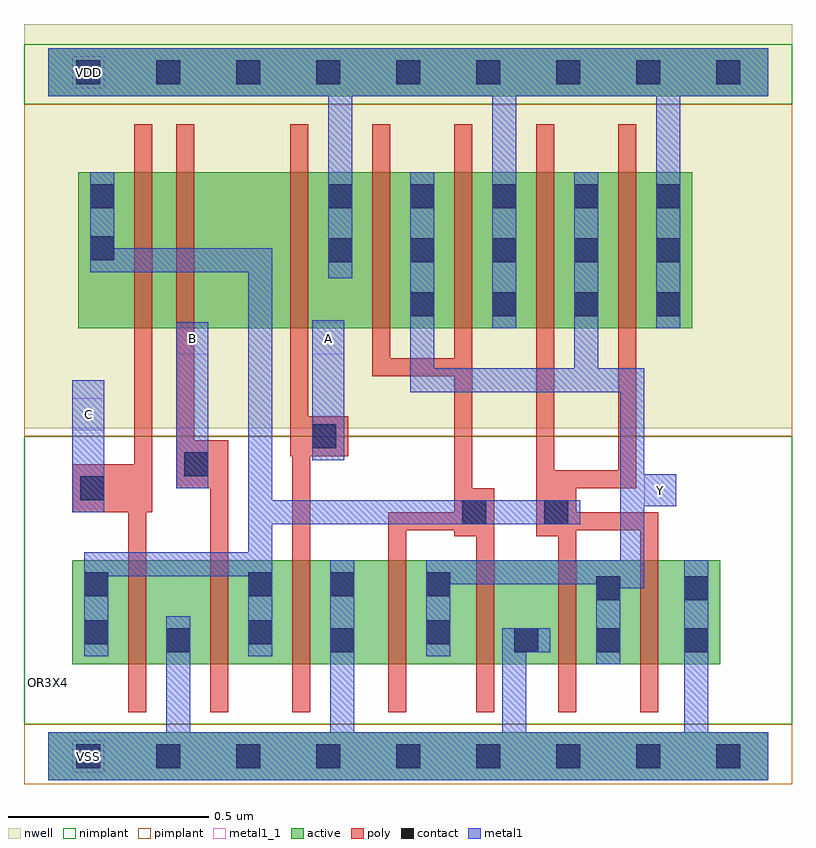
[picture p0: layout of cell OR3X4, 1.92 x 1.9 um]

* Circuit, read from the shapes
.subckt OR3X4 A B C VDD VSS Y
M1 VSS C n1 VSS nfet w=0.26u l=0.045u
M2 n1 B VSS VSS nfet w=0.26u l=0.045u
M3 VSS A n1 VSS nfet w=0.26u l=0.045u
M4 Y n1 VSS VSS nfet w=0.26u l=0.045u m=4
M5 n2 C n1 VDD pfet w=0.39u l=0.045u
M6 n3 B n2 VDD pfet w=0.39u l=0.045u
M7 VDD A n3 VDD pfet w=0.39u l=0.045u
M8 Y n1 VDD VDD pfet w=0.39u l=0.045u m=4
.ends

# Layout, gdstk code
import gdstk
lib = gdstk.Library(unit=1e-6, precision=5e-10)
def R(c, l, rs):  # rectangles x0, y0, x1, y1
    for r in rs: c.add(gdstk.rectangle(r[:2], r[2:], *l))
def A(c, l, x, y, w, h, nx, ny, dx, dy):  # array of equal rectangles
    R(c, l, [(x+i*dx, y+j*dy, x+i*dx+w, y+j*dy+h) for i in range(nx) for j in range(ny)])
def P(c, l, *ps):  # polygons
    for p in ps: c.add(gdstk.Polygon(p, *l))
active = (1, 0)
nwell = (2, 0)
poly = (3, 0)
nimplant = (4, 0)
pimplant = (5, 0)
contact = (6, 0)
metal1 = (7, 0)
metal1_1 = (7, 1)

or3x4 = lib.new_cell('OR3X4')
R(or3x4, active, [(0,-0.06,1.8,0.06), (0.06,0.23,1.68,0.49), (0.075,1.07,1.61,1.46), (0,1.65,1.8,1.77)])
R(or3x4, nwell, [(-0.06,0.82,1.86,1.83)])
P(or3x4, poly, [(0.215,1.58),(0.26,1.58),(0.26,0.61),(0.245,0.61),(0.245,0.11),(0.2,0.11),(0.2,0.61),(0.06,0.61),(0.06,0.73),(0.215,0.73)],
  [(0.32,1.58),(0.365,1.58),(0.365,0.79),(0.45,0.79),(0.45,0.11),(0.405,0.11),(0.405,0.67),(0.32,0.67)],
  [(0.605,1.58),(0.65,1.58),(0.65,0.85),(0.75,0.85),(0.75,0.75),(0.655,0.75),(0.655,0.11),(0.61,0.11),(0.61,0.75),(0.605,0.75)],
  [(0.81,1.58),(0.855,1.58),(0.855,0.995),(1.015,0.995),(1.015,1.58),(1.06,1.58),(1.06,0.67),(1.115,0.67),(1.115,0.11),(1.07,0.11),(1.07,0.55),(1.015,0.55),(1.015,0.565),(0.895,0.565),(0.895,0.11),(0.85,0.11),(0.85,0.61),(1.015,0.61),(1.015,0.95),(0.81,0.95)],
  [(1.22,1.58),(1.265,1.58),(1.265,0.715),(1.425,0.715),(1.425,1.58),(1.47,1.58),(1.47,0.67),(1.32,0.67),(1.32,0.61),(1.525,0.61),(1.525,0.11),(1.48,0.11),(1.48,0.565),(1.32,0.565),(1.32,0.11),(1.275,0.11),(1.275,0.55),(1.22,0.55)])
R(or3x4, nimplant, [(-0.06,0.08,1.86,0.8), (-0.06,1.63,1.86,1.78)])
R(or3x4, pimplant, [(-0.06,-0.07,1.86,0.08), (-0.06,0.8,1.86,1.63)])
A(or3x4, contact, 0.07, -0.03, 0.06, 0.06, 9, 2, 0.2, 1.71)
A(or3x4, contact, 0.905, 1.1, 0.06, 0.06, 4, 1, 0.205, 0)
A(or3x4, contact, 0.7, 1.235, 0.06, 0.06, 5, 2, 0.205, 0.135)
R(or3x4, contact, [(0.295,0.26,0.355,0.32), (0.705,0.26,0.765,0.32), (1.165,0.26,1.225,0.32), (1.37,0.26,1.43,0.32), (1.59,0.26,1.65,0.32), (0.09,0.28,0.15,0.34), (0.5,0.28,0.56,0.34), (0.945,0.28,1.005,0.34), (1.37,0.39,1.43,0.45), (1.59,0.39,1.65,0.45), (0.09,0.4,0.15,0.46), (0.5,0.4,0.56,0.46), (0.705,0.4,0.765,0.46), (0.945,0.4,1.005,0.46), (1.035,0.58,1.095,0.64), (1.24,0.58,1.3,0.64), (0.08,0.64,0.14,0.7), (0.34,0.7,0.4,0.76), (0.66,0.77,0.72,0.83), (0.105,1.24,0.165,1.3), (0.105,1.37,0.165,1.43)])
R(or3x4, metal1, [(0.06,0.61,0.14,0.94), (0.32,0.67,0.4,1.085), (0.66,0.74,0.74,1.09)])
P(or3x4, metal1, [(0,1.77),(1.8,1.77),(1.8,1.65),(1.58,1.65),(1.58,1.07),(1.52,1.07),(1.52,1.65),(1.17,1.65),(1.17,1.07),(1.11,1.07),(1.11,1.65),(0.76,1.65),(0.76,1.195),(0.7,1.195),(0.7,1.65),(0,1.65)],
  [(0.105,1.46),(0.165,1.46),(0.165,1.27),(0.56,1.27),(0.56,0.64),(1.33,0.64),(1.33,0.58),(0.56,0.58),(0.56,0.25),(0.5,0.25),(0.5,0.45),(0.15,0.45),(0.15,0.25),(0.09,0.25),(0.09,0.51),(0.5,0.51),(0.5,1.21),(0.105,1.21)],
  [(0.905,1.46),(0.965,1.46),(0.965,0.97),(1.315,0.97),(1.315,1.46),(1.375,1.46),(1.375,0.97),(1.49,0.97),(1.49,0.705),(1.57,0.705),(1.57,0.625),(1.49,0.625),(1.49,0.42),(1.43,0.42),(1.43,0.23),(1.37,0.23),(1.37,0.43),(1.005,0.43),(1.005,0.25),(0.945,0.25),(0.945,0.49),(1.43,0.49),(1.43,0.91),(0.905,0.91)],
  [(0.295,0.35),(0.355,0.35),(0.355,0.06),(0.705,0.06),(0.705,0.49),(0.765,0.49),(0.765,0.06),(1.135,0.06),(1.135,0.32),(1.255,0.32),(1.255,0.26),(1.195,0.26),(1.195,0.06),(1.59,0.06),(1.59,0.49),(1.65,0.49),(1.65,0.06),(1.8,0.06),(1.8,-0.06),(0,-0.06),(0,0.06),(0.295,0.06)])
A(or3x4, metal1_1, 0.06, -0.04, 0.08, 0.08, 1, 3, 0, 0.855)
R(or3x4, metal1_1, [(1.49,0.625,1.57,0.705), (0.32,1.005,0.4,1.085), (0.66,1.005,0.74,1.085)])
or3x4.add(gdstk.Label('VSS', (0.1,0), layer=7, texttype=1))
or3x4.add(gdstk.Label('Y', (1.53,0.665), layer=7, texttype=1))
or3x4.add(gdstk.Label('A', (0.7,1.045), layer=7, texttype=1))
or3x4.add(gdstk.Label('B', (0.36,1.045), layer=7, texttype=1))
or3x4.add(gdstk.Label('C', (0.1,0.855), layer=7, texttype=1))
or3x4.add(gdstk.Label('VDD', (0.1,1.71), layer=7, texttype=1))
or3x4.add(gdstk.Label('OR3X4', (0,0.185), layer=63, texttype=0))

lib.write_gds('OR3X4.gds')
